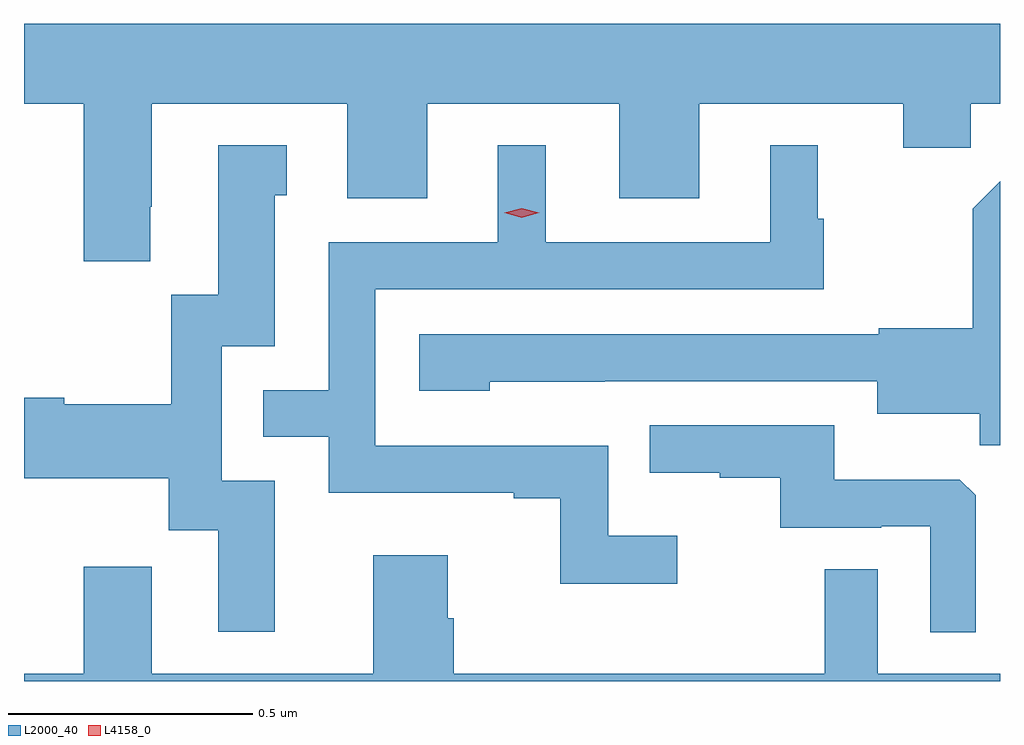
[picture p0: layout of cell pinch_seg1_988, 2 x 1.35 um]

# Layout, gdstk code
import gdstk
lib = gdstk.Library(unit=1e-6, precision=1e-09)
def P(c, l, *ps):  # polygons
    for p in ps: c.add(gdstk.Polygon(p, *l))
L2000_40 = (2000, 40)
L4158_0 = (4158, 0)

pinch_seg1_988 = lib.new_cell('pinch_seg1_988')
P(pinch_seg1_988, L2000_40, [(185.343,511.772),(185.465,511.772),(185.465,511.449),(185.602,511.449),(185.602,511.561),(185.605,511.561),(185.605,511.772),(186.005,511.772),(186.005,511.578),(186.169,511.578),(186.169,511.772),(186.563,511.772),(186.563,511.578),(186.727,511.578),(186.727,511.772),(187.145,511.772),(187.145,511.682),(187.283,511.682),(187.283,511.772),(187.343,511.772),(187.343,511.936),(185.343,511.936)],
  [(186.682,510.886),(186.54,510.886),(186.54,511.071),(186.063,511.071),(186.063,511.392),(186.982,511.392),(186.982,511.536),(186.97,511.536),(186.97,511.687),(186.872,511.687),(186.872,511.488),(186.412,511.488),(186.412,511.687),(186.314,511.687),(186.314,511.488),(185.967,511.488),(185.967,511.185),(185.833,511.185),(185.833,511.089),(185.967,511.089),(185.967,510.975),(186.347,510.975),(186.347,510.963),(186.442,510.963),(186.442,510.788),(186.682,510.788)],
  [(185.857,510.999),(185.748,510.999),(185.748,511.275),(185.857,511.275),(185.857,511.584),(185.881,511.584),(185.881,511.687),(185.741,511.687),(185.741,511.38),(185.645,511.38),(185.645,511.156),(185.425,511.156),(185.425,511.169),(185.343,511.169),(185.343,511.004),(185.64,511.004),(185.64,510.898),(185.741,510.898),(185.741,510.69),(185.857,510.69)],
  [(187.343,511.613),(187.287,511.557),(187.287,511.312),(187.095,511.312),(187.095,511.299),(186.153,511.299),(186.153,511.184),(186.297,511.184),(186.297,511.202),(186.533,511.202),(186.533,511.203),(187.091,511.203),(187.091,511.136),(187.302,511.136),(187.302,511.072),(187.343,511.072)],
  [(187.293,510.969),(187.261,511.001),(187.003,511.001),(187.003,511.113),(186.625,511.113),(186.625,511.016),(186.769,511.016),(186.769,511.005),(186.893,511.005),(186.893,510.903),(187.1,510.903),(187.1,510.906),(187.2,510.906),(187.2,510.689),(187.293,510.689)],
  [(186.059,510.847),(186.059,510.604),(185.605,510.604),(185.605,510.823),(185.465,510.823),(185.465,510.604),(185.343,510.604),(185.343,510.588),(187.343,510.588),(187.343,510.604),(187.092,510.604),(187.092,510.818),(186.984,510.818),(186.984,510.604),(186.224,510.604),(186.224,510.717),(186.211,510.717),(186.211,510.847)])
P(pinch_seg1_988, L4158_0, [(186.363,511.538),(186.327,511.548),(186.327,511.548),(186.327,511.548),(186.363,511.558),(186.399,511.548),(186.399,511.548),(186.399,511.548)])

lib.write_gds('pinch_seg1_988.gds')
